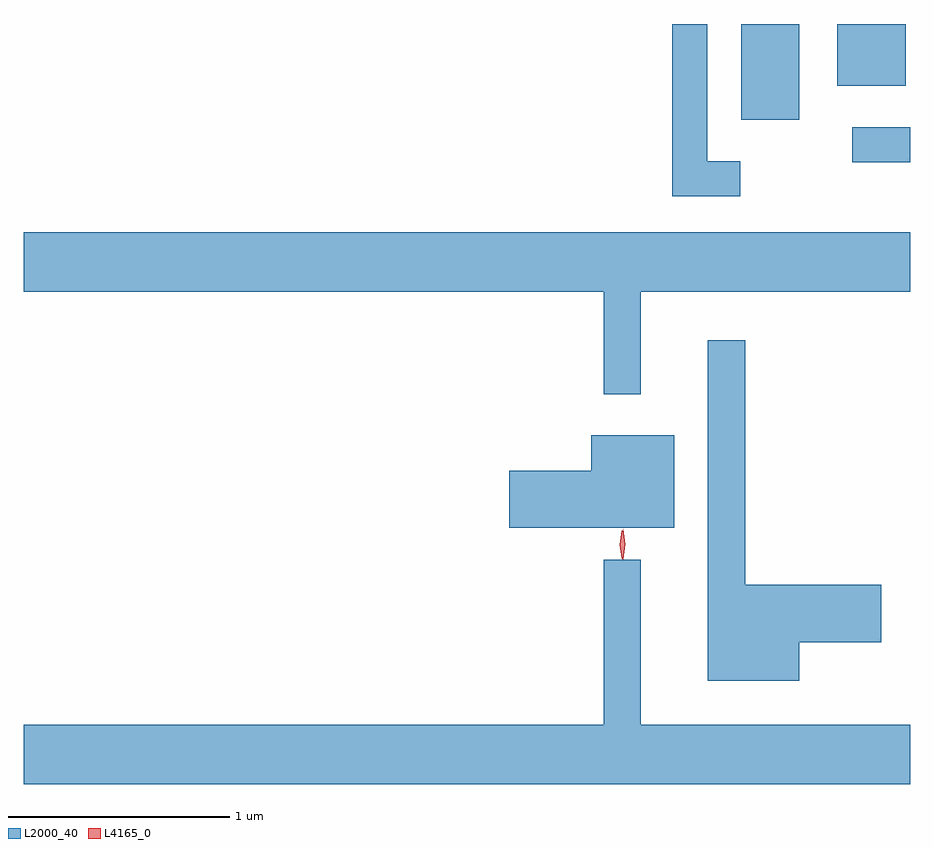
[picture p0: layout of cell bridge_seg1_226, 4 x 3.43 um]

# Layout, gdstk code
import gdstk
lib = gdstk.Library(unit=1e-6, precision=1e-09)
def R(c, l, rs):  # rectangles x0, y0, x1, y1
    for r in rs: c.add(gdstk.rectangle(r[:2], r[2:], *l))
def P(c, l, *ps):  # polygons
    for p in ps: c.add(gdstk.Polygon(p, *l))
L2000_40 = (2000, 40)
L4165_0 = (4165, 0)

bridge_seg1_226 = lib.new_cell('bridge_seg1_226')
R(bridge_seg1_226, L2000_40, [(829.933,864.641,830.195,864.799), (829.431,864.831,829.694,865.264), (829.866,864.986,830.174,865.264)])
P(bridge_seg1_226, L2000_40, [(829.428,864.644),(829.279,864.644),(829.279,865.264),(829.121,865.264),(829.121,864.486),(829.428,864.486)],
  [(828.979,864.056),(830.195,864.056),(830.195,864.324),(826.195,864.324),(826.195,864.056),(828.811,864.056),(828.811,863.593),(828.979,863.593)],
  [(829.694,862.476),(830.064,862.476),(830.064,862.734),(829.449,862.734),(829.449,863.838),(829.281,863.838),(829.281,862.301),(829.694,862.301)],
  [(829.129,863.409),(828.756,863.409),(828.756,863.249),(828.386,863.249),(828.386,862.991),(829.129,862.991)],
  [(830.195,862.104),(828.979,862.104),(828.979,862.848),(828.811,862.848),(828.811,862.104),(826.195,862.104),(826.195,861.836),(830.195,861.836)])
P(bridge_seg1_226, L4165_0, [(828.898,862.85),(828.898,862.85),(828.889,862.918),(828.899,862.985),(828.9,862.986),(828.9,862.985),(828.909,862.918),(828.899,862.85)],
  [(828.895,862.853),(828.894,862.854),(828.885,862.916),(828.894,862.979),(828.895,862.98),(828.895,862.979),(828.905,862.916),(828.895,862.854)])

lib.write_gds('bridge_seg1_226.gds')
